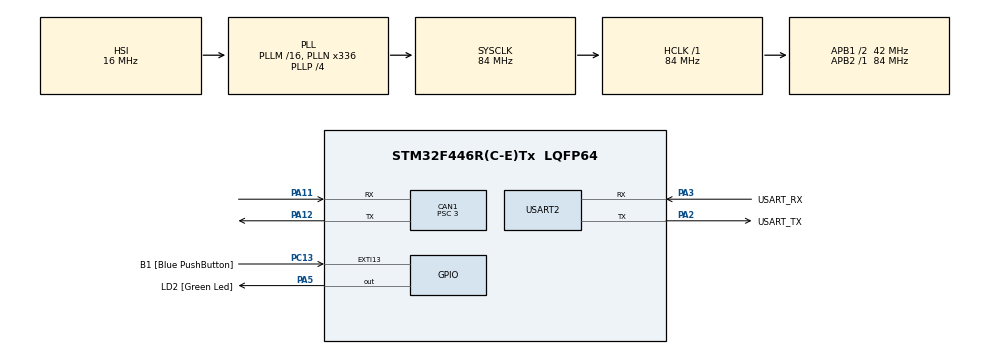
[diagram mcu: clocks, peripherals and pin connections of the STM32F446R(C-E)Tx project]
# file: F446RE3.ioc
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CAN1.BS1=CAN_BS1_10TQ
CAN1.BS2=CAN_BS2_3TQ
CAN1.CalculateBaudRate=1000000
CAN1.CalculateTimeBit=1000
CAN1.CalculateTimeQuantum=71.42857142857143
CAN1.Prescaler=3
Mcu.Family=STM32F4
Mcu.Name=STM32F446R(C-E)Tx
Mcu.Package=LQFP64
NVIC.CAN1_RX0_IRQn=true\:0\:0\:false\:false\:true\:true\:true\:true
NVIC.PriorityGroup=NVIC_PRIORITYGROUP_0
PA11.Mode=CAN_Activate
PA11.Signal=CAN1_RX
PA12.Mode=CAN_Activate
PA12.Signal=CAN1_TX
PA13.GPIO_Label=TMS
PA13.Mode=Serial_Wire
PA13.Signal=SYS_JTMS-SWDIO
PA14.GPIO_Label=TCK
PA14.Mode=Serial_Wire
PA14.Signal=SYS_JTCK-SWCLK
PA2.GPIO_Label=USART_TX
PA2.Mode=Asynchronous
PA2.Signal=USART2_TX
PA3.GPIO_Label=USART_RX
PA3.Mode=Asynchronous
PA3.Signal=USART2_RX
PA5.GPIO_Label=LD2 [Green Led]
PA5.Signal=GPIO_Output
PB3.GPIO_Label=SWO
PB3.Signal=SYS_JTDO-SWO
PC13.GPIO_Label=B1 [Blue PushButton]
PC13.GPIO_ModeDefaultEXTI=GPIO_MODE_IT_FALLING
PC13.Signal=GPXTI13
PC14-OSC32_IN.Mode=LSE-External-Oscillator
PC14-OSC32_IN.Signal=RCC_OSC32_IN
PC15-OSC32_OUT.Mode=LSE-External-Oscillator
PC15-OSC32_OUT.Signal=RCC_OSC32_OUT
PH0-OSC_IN.Mode=HSE-External-Oscillator
PH0-OSC_IN.Signal=RCC_OSC_IN
PH1-OSC_OUT.Mode=HSE-External-Oscillator
PH1-OSC_OUT.Signal=RCC_OSC_OUT
ProjectManager.HeapSize=0x200
ProjectManager.StackSize=0x400
ProjectManager.TargetToolchain=Makefile
RCC.48MHZClocksFreq_Value=84000000
RCC.AHBFreq_Value=84000000
RCC.APB1CLKDivider=RCC_HCLK_DIV2
RCC.APB1Freq_Value=42000000
RCC.APB1TimFreq_Value=84000000
RCC.APB2Freq_Value=84000000
RCC.APB2TimFreq_Value=84000000
RCC.CortexFreq_Value=84000000
RCC.FLatency-AdvancedSettings=FLASH_LATENCY_2
RCC.HCLKFreq_Value=84000000
RCC.HSE_VALUE=8000000
RCC.HSI_VALUE=16000000
RCC.PLLN=336
RCC.PLLP=RCC_PLLP_DIV4
RCC.SYSCLKFreq_VALUE=84000000
RCC.SYSCLKSource=RCC_SYSCLKSOURCE_PLLCLK
RCC.USBFreq_Value=168000000
RCC.VCOOutputFreq_Value=336000000
USART2.VirtualMode=VM_ASYNC
board=NUCLEO-F446RE

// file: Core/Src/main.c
/* USER CODE BEGIN Header */
/**
 ******************************************************************************
 * @file           : main.c
 * @brief          : Main program body
 ******************************************************************************
 * @attention
 *
 * Copyright (c) 2026 STMicroelectronics.
 * All rights reserved.
 *
 * This software is licensed under terms that can be found in the LICENSE file
 * in the root directory of this software component.
 * If no LICENSE file comes with this software, it is provided AS-IS.
 *
 ******************************************************************************
 */
/* USER CODE END Header */
#include "main.h"
#include "stm32f4xx_hal.h"
#include <stdint.h>

/* USER CODE BEGIN Includes */
#include <stdio.h>

/* USER CODE END Includes */

CAN_HandleTypeDef hcan1;

UART_HandleTypeDef huart2;

void        SystemClock_Config(void);
static void MX_GPIO_Init(void);
static void MX_USART2_UART_Init(void);
static void MX_CAN1_Init(void);

/* USER CODE BEGIN 0 */
uint8_t motor_data[4][8]; // 0:0x201, 1:0x202, 2:0x203, 3:0x204
uint8_t motor_received[4] = {0};

void CAN_TX(uint32_t recipient, uint16_t speed) {
    // 送信用インスタンス等
    CAN_TxHeaderTypeDef TxHeader;
    uint32_t            TxMailbox;
    uint8_t             TxData[8];
    // 送信メールボックスに空きがあったら送信開始
    if (0 < HAL_CAN_GetTxMailboxesFreeLevel(&hcan1)) {
        // 送信用インスタンスの設定
        TxHeader.StdId              = recipient; // 受取手のCANのID
        TxHeader.RTR                = CAN_RTR_DATA;
        TxHeader.IDE                = CAN_ID_STD;
        TxHeader.DLC                = 8; // データ長を8byteに設定
        TxHeader.TransmitGlobalTime = DISABLE;
        // 各データ
        TxData[0] = speed >> 8;
        TxData[1] = speed & 0xFF;
        TxData[2] = 2;
        TxData[3] = 3;
        TxData[4] = 4;
        TxData[5] = 5;
        TxData[6] = 6;
        TxData[7] = 7;
        // CANメッセージを送信
        if (HAL_CAN_AddTxMessage(&hcan1, &TxHeader, TxData, &TxMailbox) != HAL_OK) {
            Error_Handler();
        }
    }
}

void CAN_TX_MOTOR(int16_t m1, int16_t m2, int16_t m3, int16_t m4) {
    static CAN_TxHeaderTypeDef TxHeader = {.StdId              = 0x200,
                                           .RTR                = CAN_RTR_DATA,
                                           .IDE                = CAN_ID_STD,
                                           .DLC                = 8,
                                           .TransmitGlobalTime = DISABLE};

    uint32_t TxMailbox;
    uint8_t  TxData[8] = {0};

    TxData[0] = (uint8_t)(m1 >> 8);
    TxData[1] = (uint8_t)(m1);
    TxData[2] = (uint8_t)(m2 >> 8);
    TxData[3] = (uint8_t)(m2);
    TxData[4] = (uint8_t)(m3 >> 8);
    TxData[5] = (uint8_t)(m3);
    TxData[6] = (uint8_t)(m4 >> 8);
    TxData[7] = (uint8_t)(m4);

    if (HAL_CAN_GetTxMailboxesFreeLevel(&hcan1) > 0) {
        if (HAL_CAN_AddTxMessage(&hcan1, &TxHeader, TxData, &TxMailbox) != HAL_OK) {
            Error_Handler();
        }
    }
}

void HAL_CAN_RxFifo0MsgPendingCallback(CAN_HandleTypeDef* hcan1) {
    CAN_RxHeaderTypeDef RxHeader;  // 受信メッセージの情報が格納されるインスタンス
    uint8_t             RxData[8]; // 受信したデータを一時保存する配列
    if (HAL_CAN_GetRxMessage(hcan1, CAN_RX_FIFO0, &RxHeader, RxData) == HAL_OK) {
        uint32_t id = RxHeader.StdId; // RxHeaderの中に入っているidを取り出す
        if (id >= 0x201 && id <= 0x204) {
            int index = id - 0x201; // 0〜3に変換
            for (int i = 0; i < 8; i++) {
                motor_data[index][i] = RxData[i];
            }
            motor_received[index] = 1;
        }
    }
}

int _write(int file, char* ptr, int len) {
    HAL_UART_Transmit(&huart2, (uint8_t*)ptr, len, HAL_MAX_DELAY);
    return len;
}
/* USER CODE END 0 */

int main(void) {

    /* USER CODE BEGIN 1 */
    setbuf(stdout, NULL);

    /* USER CODE END 1 */

    /* MCU Configuration--------------------------------------------------------*/

    /* Reset of all peripherals, Initializes the Flash interface and the Systick. */
    HAL_Init();

    /* Configure the system clock */
    SystemClock_Config();

    /* Initialize all configured peripherals */
    MX_GPIO_Init();
    MX_USART2_UART_Init();
    MX_CAN1_Init();
    /* USER CODE BEGIN 2 */
    // CANスタート
    HAL_CAN_Start(&hcan1);
    // 割り込み有効
    HAL_CAN_ActivateNotification(&hcan1, CAN_IT_RX_FIFO0_MSG_PENDING);

    /* USER CODE END 2 */

    /* Infinite loop */
    while (1) {

        /* USER CODE BEGIN 3 */
        CAN_TX_MOTOR(0, 0, 0, 10000);

        for (int i = 0; i < 4; i++) {
            if (!motor_received[i]) {
                printf("M%d no data\n", i + 1);
                continue;
            }
            __disable_irq();
            int16_t angle   = (motor_data[i][0] << 8) | motor_data[i][1];
            int16_t speed   = (motor_data[i][2] << 8) | motor_data[i][3];
            int16_t current = (motor_data[i][4] << 8) | motor_data[i][5];
            __enable_irq();

            printf("M%d angle:%d speed:%d current:%d\n", i + 1, angle, speed, current);
        }

        HAL_Delay(10);
    }
    /* USER CODE END 3 */
}

void SystemClock_Config(void) {
    RCC_OscInitTypeDef RCC_OscInitStruct = {0};
    RCC_ClkInitTypeDef RCC_ClkInitStruct = {0};

    /** Configure the main internal regulator output voltage
     */
    __HAL_RCC_PWR_CLK_ENABLE();
    __HAL_PWR_VOLTAGESCALING_CONFIG(PWR_REGULATOR_VOLTAGE_SCALE3);

    /** Initializes the RCC Oscillators according to the specified parameters
     * in the RCC_OscInitTypeDef structure.
     */
    RCC_OscInitStruct.OscillatorType      = RCC_OSCILLATORTYPE_HSI;
    RCC_OscInitStruct.HSIState            = RCC_HSI_ON;
    RCC_OscInitStruct.HSICalibrationValue = RCC_HSICALIBRATION_DEFAULT;
    RCC_OscInitStruct.PLL.PLLState        = RCC_PLL_ON;
    RCC_OscInitStruct.PLL.PLLSource       = RCC_PLLSOURCE_HSI;
    RCC_OscInitStruct.PLL.PLLM            = 16;
    RCC_OscInitStruct.PLL.PLLN            = 336;
    RCC_OscInitStruct.PLL.PLLP            = RCC_PLLP_DIV4;
    RCC_OscInitStruct.PLL.PLLQ            = 2;
    RCC_OscInitStruct.PLL.PLLR            = 2;
    if (HAL_RCC_OscConfig(&RCC_OscInitStruct) != HAL_OK) {
        Error_Handler();
    }

    /** Initializes the CPU, AHB and APB buses clocks
     */
    RCC_ClkInitStruct.ClockType      = RCC_CLOCKTYPE_HCLK | RCC_CLOCKTYPE_SYSCLK | RCC_CLOCKTYPE_PCLK1 | RCC_CLOCKTYPE_PCLK2;
    RCC_ClkInitStruct.SYSCLKSource   = RCC_SYSCLKSOURCE_PLLCLK;
    RCC_ClkInitStruct.AHBCLKDivider  = RCC_SYSCLK_DIV1;
    RCC_ClkInitStruct.APB1CLKDivider = RCC_HCLK_DIV2;
    RCC_ClkInitStruct.APB2CLKDivider = RCC_HCLK_DIV1;

    if (HAL_RCC_ClockConfig(&RCC_ClkInitStruct, FLASH_LATENCY_2) != HAL_OK) {
        Error_Handler();
    }
}

static void MX_CAN1_Init(void) {

    hcan1.Instance                  = CAN1;
    hcan1.Init.Prescaler            = 3;
    hcan1.Init.Mode                 = CAN_MODE_NORMAL;
    hcan1.Init.SyncJumpWidth        = CAN_SJW_1TQ;
    hcan1.Init.TimeSeg1             = CAN_BS1_10TQ;
    hcan1.Init.TimeSeg2             = CAN_BS2_3TQ;
    hcan1.Init.TimeTriggeredMode    = DISABLE;
    hcan1.Init.AutoBusOff           = DISABLE;
    hcan1.Init.AutoWakeUp           = DISABLE;
    hcan1.Init.AutoRetransmission   = ENABLE;
    hcan1.Init.ReceiveFifoLocked    = DISABLE;
    hcan1.Init.TransmitFifoPriority = DISABLE;
    if (HAL_CAN_Init(&hcan1) != HAL_OK) {
        Error_Handler();
    }
    /* USER CODE BEGIN CAN1_Init 2 */
    CAN_FilterTypeDef filter;
    filter.FilterIdHigh         = 0x0000;
    filter.FilterIdLow          = 0x0000;
    filter.FilterMaskIdHigh     = 0x0000;
    filter.FilterMaskIdLow      = 0x0000;
    filter.FilterScale          = CAN_FILTERSCALE_16BIT; // 16モード
    filter.FilterFIFOAssignment = CAN_FILTER_FIFO0;      // FIFO0へ格納
    filter.FilterBank           = 0;
    filter.FilterMode           = CAN_FILTERMODE_IDMASK;
    filter.SlaveStartFilterBank = 14;
    filter.FilterActivation     = ENABLE;

    HAL_CAN_ConfigFilter(&hcan1, &filter);

    /* USER CODE END CAN1_Init 2 */
}

static void MX_USART2_UART_Init(void) {

    huart2.Instance          = USART2;
    huart2.Init.BaudRate     = 115200;
    huart2.Init.WordLength   = UART_WORDLENGTH_8B;
    huart2.Init.StopBits     = UART_STOPBITS_1;
    huart2.Init.Parity       = UART_PARITY_NONE;
    huart2.Init.Mode         = UART_MODE_TX_RX;
    huart2.Init.HwFlowCtl    = UART_HWCONTROL_NONE;
    huart2.Init.OverSampling = UART_OVERSAMPLING_16;
    if (HAL_UART_Init(&huart2) != HAL_OK) {
        Error_Handler();
    }
}

static void MX_GPIO_Init(void) {
    GPIO_InitTypeDef GPIO_InitStruct = {0};

    /* GPIO Ports Clock Enable */
    __HAL_RCC_GPIOC_CLK_ENABLE();
    __HAL_RCC_GPIOH_CLK_ENABLE();
    __HAL_RCC_GPIOA_CLK_ENABLE();
    __HAL_RCC_GPIOB_CLK_ENABLE();

    /*Configure GPIO pin Output Level */
    HAL_GPIO_WritePin(LD2_GPIO_Port, LD2_Pin, GPIO_PIN_RESET);

    /*Configure GPIO pin : B1_Pin */
    GPIO_InitStruct.Pin  = B1_Pin;
    GPIO_InitStruct.Mode = GPIO_MODE_IT_FALLING;
    GPIO_InitStruct.Pull = GPIO_NOPULL;
    HAL_GPIO_Init(B1_GPIO_Port, &GPIO_InitStruct);

    /*Configure GPIO pin : LD2_Pin */
    GPIO_InitStruct.Pin   = LD2_Pin;
    GPIO_InitStruct.Mode  = GPIO_MODE_OUTPUT_PP;
    GPIO_InitStruct.Pull  = GPIO_NOPULL;
    GPIO_InitStruct.Speed = GPIO_SPEED_FREQ_LOW;
    HAL_GPIO_Init(LD2_GPIO_Port, &GPIO_InitStruct);

}

void Error_Handler(void) {
    __disable_irq();
    while (1) {
    }
}
